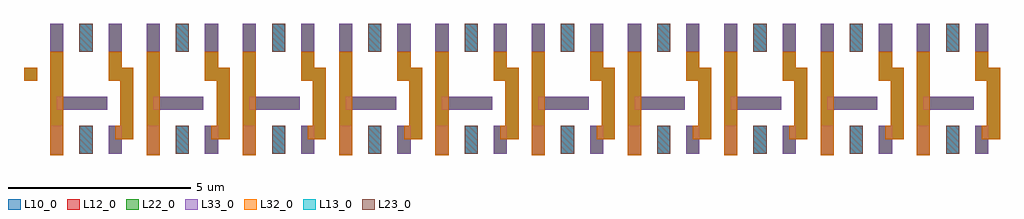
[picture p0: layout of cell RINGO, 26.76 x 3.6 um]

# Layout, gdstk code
import gdstk
lib = gdstk.Library(unit=1e-6, precision=1e-09)
def R(c, l, rs):  # rectangles x0, y0, x1, y1
    for r in rs: c.add(gdstk.rectangle(r[:2], r[2:], *l))
def A(c, l, x, y, w, h, nx, ny, dx, dy):  # array of equal rectangles
    R(c, l, [(x+i*dx, y+j*dy, x+i*dx+w, y+j*dy+h) for i in range(nx) for j in range(ny)])
def P(c, l, *ps):  # polygons
    for p in ps: c.add(gdstk.Polygon(p, *l))
L10_0 = (10, 0)
L11_0 = (11, 0)
L12_0 = (12, 0)
L13_0 = (13, 0)
L22_0 = (22, 0)
L23_0 = (23, 0)
L32_0 = (32, 0)
L33_0 = (33, 0)

ringo = lib.new_cell('RINGO')
A(ringo, L10_0, -0.98, -0.42, 0.36, 2.84, 10, 1, 2.64, 0)
A(ringo, L10_0, -0.8, 0.82, 1.38, 0.36, 10, 1, 2.64, 0)
R(ringo, L10_0, [(-0.98,-0.38,-0.62,0.38), (-0.18,-0.38,0.18,0.38), (-0.18,-0.38,0.18,0.38), (0.62,-0.38,0.98,0.38), (1.66,-0.38,2.02,0.38), (2.46,-0.38,2.82,0.38), (2.46,-0.38,2.82,0.38), (3.26,-0.38,3.62,0.38), (4.3,-0.38,4.66,0.38), (5.1,-0.38,5.46,0.38), (5.1,-0.38,5.46,0.38), (5.9,-0.38,6.26,0.38), (6.94,-0.38,7.3,0.38), (7.74,-0.38,8.1,0.38), (7.74,-0.38,8.1,0.38), (8.54,-0.38,8.9,0.38), (9.58,-0.38,9.94,0.38), (10.38,-0.38,10.74,0.38), (10.38,-0.38,10.74,0.38), (11.18,-0.38,11.54,0.38), (12.22,-0.38,12.58,0.38), (13.02,-0.38,13.38,0.38), (13.02,-0.38,13.38,0.38), (13.82,-0.38,14.18,0.38), (14.86,-0.38,15.22,0.38), (15.66,-0.38,16.02,0.38), (15.66,-0.38,16.02,0.38), (16.46,-0.38,16.82,0.38), (17.5,-0.38,17.86,0.38), (18.3,-0.38,18.66,0.38), (18.3,-0.38,18.66,0.38), (19.1,-0.38,19.46,0.38), (20.14,-0.38,20.5,0.38), (20.94,-0.38,21.3,0.38), (20.94,-0.38,21.3,0.38), (21.74,-0.38,22.1,0.38), (22.78,-0.38,23.14,0.38), (23.58,-0.38,23.94,0.38), (23.58,-0.38,23.94,0.38), (24.38,-0.38,24.74,0.38), (-1.7,1.62,-1.34,1.98), (-0.98,2.42,-0.62,3.18), (-0.18,2.42,0.18,3.18), (-0.18,2.42,0.18,3.18), (0.62,2.42,0.98,3.18), (1.66,2.42,2.02,3.18), (2.46,2.42,2.82,3.18), (2.46,2.42,2.82,3.18), (3.26,2.42,3.62,3.18), (4.3,2.42,4.66,3.18), (5.1,2.42,5.46,3.18), (5.1,2.42,5.46,3.18), (5.9,2.42,6.26,3.18), (6.94,2.42,7.3,3.18), (7.74,2.42,8.1,3.18), (7.74,2.42,8.1,3.18), (8.54,2.42,8.9,3.18), (9.58,2.42,9.94,3.18), (10.38,2.42,10.74,3.18), (10.38,2.42,10.74,3.18), (11.18,2.42,11.54,3.18), (12.22,2.42,12.58,3.18), (13.02,2.42,13.38,3.18), (13.02,2.42,13.38,3.18), (13.82,2.42,14.18,3.18), (14.86,2.42,15.22,3.18), (15.66,2.42,16.02,3.18), (15.66,2.42,16.02,3.18), (16.46,2.42,16.82,3.18), (17.5,2.42,17.86,3.18), (18.3,2.42,18.66,3.18), (18.3,2.42,18.66,3.18), (19.1,2.42,19.46,3.18), (20.14,2.42,20.5,3.18), (20.94,2.42,21.3,3.18), (20.94,2.42,21.3,3.18), (21.74,2.42,22.1,3.18), (22.78,2.42,23.14,3.18), (23.58,2.42,23.94,3.18), (23.58,2.42,23.94,3.18), (24.38,2.42,24.74,3.18)])
R(ringo, L12_0, [(-1.7,1.62,-1.34,1.98)])
P(ringo, L12_0, [(-0.98,-0.42),(-0.98,3.18),(-0.62,3.18),(-0.62,1.18),(0.58,1.18),(0.58,0.82),(-0.62,0.82),(-0.62,-0.42)],
  [(0.62,-0.38),(0.62,0.38),(0.94,0.38),(0.94,1.62),(0.62,1.62),(0.62,3.18),(0.98,3.18),(0.98,1.98),(1.3,1.98),(1.3,0.02),(0.98,0.02),(0.98,-0.38)],
  [(24.38,-0.38),(24.38,0.38),(24.7,0.38),(24.7,1.62),(24.38,1.62),(24.38,3.18),(24.74,3.18),(24.74,1.98),(25.06,1.98),(25.06,0.02),(24.74,0.02),(24.74,-0.38)],
  [(9.58,-0.42),(9.58,3.18),(9.94,3.18),(9.94,1.18),(11.14,1.18),(11.14,0.82),(9.94,0.82),(9.94,-0.42)],
  [(22.78,-0.42),(22.78,3.18),(23.14,3.18),(23.14,1.18),(24.34,1.18),(24.34,0.82),(23.14,0.82),(23.14,-0.42)],
  [(12.22,-0.42),(12.22,3.18),(12.58,3.18),(12.58,1.18),(13.78,1.18),(13.78,0.82),(12.58,0.82),(12.58,-0.42)],
  [(4.3,-0.42),(4.3,3.18),(4.66,3.18),(4.66,1.18),(5.86,1.18),(5.86,0.82),(4.66,0.82),(4.66,-0.42)],
  [(6.94,-0.42),(6.94,3.18),(7.3,3.18),(7.3,1.18),(8.5,1.18),(8.5,0.82),(7.3,0.82),(7.3,-0.42)],
  [(5.9,-0.38),(5.9,0.38),(6.22,0.38),(6.22,1.62),(5.9,1.62),(5.9,3.18),(6.26,3.18),(6.26,1.98),(6.58,1.98),(6.58,0.02),(6.26,0.02),(6.26,-0.38)],
  [(3.26,-0.38),(3.26,0.38),(3.58,0.38),(3.58,1.62),(3.26,1.62),(3.26,3.18),(3.62,3.18),(3.62,1.98),(3.94,1.98),(3.94,0.02),(3.62,0.02),(3.62,-0.38)],
  [(1.66,-0.42),(1.66,3.18),(2.02,3.18),(2.02,1.18),(3.22,1.18),(3.22,0.82),(2.02,0.82),(2.02,-0.42)],
  [(11.18,-0.38),(11.18,0.38),(11.5,0.38),(11.5,1.62),(11.18,1.62),(11.18,3.18),(11.54,3.18),(11.54,1.98),(11.86,1.98),(11.86,0.02),(11.54,0.02),(11.54,-0.38)],
  [(21.74,-0.38),(21.74,0.38),(22.06,0.38),(22.06,1.62),(21.74,1.62),(21.74,3.18),(22.1,3.18),(22.1,1.98),(22.42,1.98),(22.42,0.02),(22.1,0.02),(22.1,-0.38)],
  [(20.14,-0.42),(20.14,3.18),(20.5,3.18),(20.5,1.18),(21.7,1.18),(21.7,0.82),(20.5,0.82),(20.5,-0.42)],
  [(19.1,-0.38),(19.1,0.38),(19.42,0.38),(19.42,1.62),(19.1,1.62),(19.1,3.18),(19.46,3.18),(19.46,1.98),(19.78,1.98),(19.78,0.02),(19.46,0.02),(19.46,-0.38)],
  [(14.86,-0.42),(14.86,3.18),(15.22,3.18),(15.22,1.18),(16.42,1.18),(16.42,0.82),(15.22,0.82),(15.22,-0.42)],
  [(13.82,-0.38),(13.82,0.38),(14.14,0.38),(14.14,1.62),(13.82,1.62),(13.82,3.18),(14.18,3.18),(14.18,1.98),(14.5,1.98),(14.5,0.02),(14.18,0.02),(14.18,-0.38)],
  [(8.54,-0.38),(8.54,0.38),(8.86,0.38),(8.86,1.62),(8.54,1.62),(8.54,3.18),(8.9,3.18),(8.9,1.98),(9.22,1.98),(9.22,0.02),(8.9,0.02),(8.9,-0.38)],
  [(17.5,-0.42),(17.5,3.18),(17.86,3.18),(17.86,1.18),(19.06,1.18),(19.06,0.82),(17.86,0.82),(17.86,-0.42)],
  [(16.46,-0.38),(16.46,0.38),(16.78,0.38),(16.78,1.62),(16.46,1.62),(16.46,3.18),(16.82,3.18),(16.82,1.98),(17.14,1.98),(17.14,0.02),(16.82,0.02),(16.82,-0.38)])
A(ringo, L13_0, -0.18, -0.38, 0.36, 0.76, 10, 2, 2.64, 2.8)
R(ringo, L22_0, [(-1.7,1.62,-1.34,1.98)])
P(ringo, L22_0, [(-0.98,-0.42),(-0.98,3.18),(-0.62,3.18),(-0.62,1.18),(0.58,1.18),(0.58,0.82),(-0.62,0.82),(-0.62,-0.42)],
  [(0.62,-0.38),(0.62,0.38),(0.94,0.38),(0.94,1.62),(0.62,1.62),(0.62,3.18),(0.98,3.18),(0.98,1.98),(1.3,1.98),(1.3,0.02),(0.98,0.02),(0.98,-0.38)],
  [(24.38,-0.38),(24.38,0.38),(24.7,0.38),(24.7,1.62),(24.38,1.62),(24.38,3.18),(24.74,3.18),(24.74,1.98),(25.06,1.98),(25.06,0.02),(24.74,0.02),(24.74,-0.38)],
  [(9.58,-0.42),(9.58,3.18),(9.94,3.18),(9.94,1.18),(11.14,1.18),(11.14,0.82),(9.94,0.82),(9.94,-0.42)],
  [(22.78,-0.42),(22.78,3.18),(23.14,3.18),(23.14,1.18),(24.34,1.18),(24.34,0.82),(23.14,0.82),(23.14,-0.42)],
  [(12.22,-0.42),(12.22,3.18),(12.58,3.18),(12.58,1.18),(13.78,1.18),(13.78,0.82),(12.58,0.82),(12.58,-0.42)],
  [(4.3,-0.42),(4.3,3.18),(4.66,3.18),(4.66,1.18),(5.86,1.18),(5.86,0.82),(4.66,0.82),(4.66,-0.42)],
  [(6.94,-0.42),(6.94,3.18),(7.3,3.18),(7.3,1.18),(8.5,1.18),(8.5,0.82),(7.3,0.82),(7.3,-0.42)],
  [(5.9,-0.38),(5.9,0.38),(6.22,0.38),(6.22,1.62),(5.9,1.62),(5.9,3.18),(6.26,3.18),(6.26,1.98),(6.58,1.98),(6.58,0.02),(6.26,0.02),(6.26,-0.38)],
  [(3.26,-0.38),(3.26,0.38),(3.58,0.38),(3.58,1.62),(3.26,1.62),(3.26,3.18),(3.62,3.18),(3.62,1.98),(3.94,1.98),(3.94,0.02),(3.62,0.02),(3.62,-0.38)],
  [(1.66,-0.42),(1.66,3.18),(2.02,3.18),(2.02,1.18),(3.22,1.18),(3.22,0.82),(2.02,0.82),(2.02,-0.42)],
  [(11.18,-0.38),(11.18,0.38),(11.5,0.38),(11.5,1.62),(11.18,1.62),(11.18,3.18),(11.54,3.18),(11.54,1.98),(11.86,1.98),(11.86,0.02),(11.54,0.02),(11.54,-0.38)],
  [(21.74,-0.38),(21.74,0.38),(22.06,0.38),(22.06,1.62),(21.74,1.62),(21.74,3.18),(22.1,3.18),(22.1,1.98),(22.42,1.98),(22.42,0.02),(22.1,0.02),(22.1,-0.38)],
  [(20.14,-0.42),(20.14,3.18),(20.5,3.18),(20.5,1.18),(21.7,1.18),(21.7,0.82),(20.5,0.82),(20.5,-0.42)],
  [(19.1,-0.38),(19.1,0.38),(19.42,0.38),(19.42,1.62),(19.1,1.62),(19.1,3.18),(19.46,3.18),(19.46,1.98),(19.78,1.98),(19.78,0.02),(19.46,0.02),(19.46,-0.38)],
  [(14.86,-0.42),(14.86,3.18),(15.22,3.18),(15.22,1.18),(16.42,1.18),(16.42,0.82),(15.22,0.82),(15.22,-0.42)],
  [(13.82,-0.38),(13.82,0.38),(14.14,0.38),(14.14,1.62),(13.82,1.62),(13.82,3.18),(14.18,3.18),(14.18,1.98),(14.5,1.98),(14.5,0.02),(14.18,0.02),(14.18,-0.38)],
  [(8.54,-0.38),(8.54,0.38),(8.86,0.38),(8.86,1.62),(8.54,1.62),(8.54,3.18),(8.9,3.18),(8.9,1.98),(9.22,1.98),(9.22,0.02),(8.9,0.02),(8.9,-0.38)],
  [(17.5,-0.42),(17.5,3.18),(17.86,3.18),(17.86,1.18),(19.06,1.18),(19.06,0.82),(17.86,0.82),(17.86,-0.42)],
  [(16.46,-0.38),(16.46,0.38),(16.78,0.38),(16.78,1.62),(16.46,1.62),(16.46,3.18),(16.82,3.18),(16.82,1.98),(17.14,1.98),(17.14,0.02),(16.82,0.02),(16.82,-0.38)])
A(ringo, L23_0, -0.18, -0.38, 0.36, 0.76, 10, 2, 2.64, 2.8)
A(ringo, L32_0, -0.98, -0.42, 0.36, 2.84, 10, 1, 2.64, 0)
R(ringo, L32_0, [(-1.7,1.62,-1.34,1.98)])
P(ringo, L32_0, [(21.92,0.02),(21.92,0.38),(22.06,0.38),(22.06,1.62),(21.74,1.62),(21.74,2.42),(22.1,2.42),(22.1,1.98),(22.42,1.98),(22.42,0.02)],
  [(3.44,0.02),(3.44,0.38),(3.58,0.38),(3.58,1.62),(3.26,1.62),(3.26,2.42),(3.62,2.42),(3.62,1.98),(3.94,1.98),(3.94,0.02)],
  [(6.08,0.02),(6.08,0.38),(6.22,0.38),(6.22,1.62),(5.9,1.62),(5.9,2.42),(6.26,2.42),(6.26,1.98),(6.58,1.98),(6.58,0.02)],
  [(11.36,0.02),(11.36,0.38),(11.5,0.38),(11.5,1.62),(11.18,1.62),(11.18,2.42),(11.54,2.42),(11.54,1.98),(11.86,1.98),(11.86,0.02)],
  [(8.72,0.02),(8.72,0.38),(8.86,0.38),(8.86,1.62),(8.54,1.62),(8.54,2.42),(8.9,2.42),(8.9,1.98),(9.22,1.98),(9.22,0.02)],
  [(0.8,0.02),(0.8,0.38),(0.94,0.38),(0.94,1.62),(0.62,1.62),(0.62,2.42),(0.98,2.42),(0.98,1.98),(1.3,1.98),(1.3,0.02)],
  [(19.28,0.02),(19.28,0.38),(19.42,0.38),(19.42,1.62),(19.1,1.62),(19.1,2.42),(19.46,2.42),(19.46,1.98),(19.78,1.98),(19.78,0.02)],
  [(24.56,0.02),(24.56,0.38),(24.7,0.38),(24.7,1.62),(24.38,1.62),(24.38,2.42),(24.74,2.42),(24.74,1.98),(25.06,1.98),(25.06,0.02)],
  [(16.64,0.02),(16.64,0.38),(16.78,0.38),(16.78,1.62),(16.46,1.62),(16.46,2.42),(16.82,2.42),(16.82,1.98),(17.14,1.98),(17.14,0.02)],
  [(14,0.02),(14,0.38),(14.14,0.38),(14.14,1.62),(13.82,1.62),(13.82,2.42),(14.18,2.42),(14.18,1.98),(14.5,1.98),(14.5,0.02)])
A(ringo, L33_0, -0.98, -0.38, 0.36, 0.76, 3, 2, 0.8, 2.8)
A(ringo, L33_0, 1.66, -0.38, 0.36, 0.76, 3, 2, 0.8, 2.8)
A(ringo, L33_0, 4.3, -0.38, 0.36, 0.76, 3, 2, 0.8, 2.8)
A(ringo, L33_0, 6.94, -0.38, 0.36, 0.76, 3, 2, 0.8, 2.8)
A(ringo, L33_0, 9.58, -0.38, 0.36, 0.76, 3, 2, 0.8, 2.8)
A(ringo, L33_0, 12.22, -0.38, 0.36, 0.76, 3, 2, 0.8, 2.8)
A(ringo, L33_0, 14.86, -0.38, 0.36, 0.76, 3, 2, 0.8, 2.8)
A(ringo, L33_0, 17.5, -0.38, 0.36, 0.76, 3, 2, 0.8, 2.8)
A(ringo, L33_0, 20.14, -0.38, 0.36, 0.76, 3, 2, 0.8, 2.8)
A(ringo, L33_0, 22.78, -0.38, 0.36, 0.76, 3, 2, 0.8, 2.8)
A(ringo, L33_0, -0.8, 0.82, 1.38, 0.36, 10, 1, 2.64, 0)
ringo.add(gdstk.FlexPath([(0.8,0.2),(1.12,0.2),(1.12,1.8),(0.8,1.8),(0.8,2.42)], 0.36, ends="flush", simple_path=True, layer=10, datatype=0))  # L10_0
ringo.add(gdstk.FlexPath([(3.44,0.2),(3.76,0.2),(3.76,1.8),(3.44,1.8),(3.44,2.42)], 0.36, ends="flush", simple_path=True, layer=10, datatype=0))  # L10_0
ringo.add(gdstk.FlexPath([(6.08,0.2),(6.4,0.2),(6.4,1.8),(6.08,1.8),(6.08,2.42)], 0.36, ends="flush", simple_path=True, layer=10, datatype=0))  # L10_0
ringo.add(gdstk.FlexPath([(8.72,0.2),(9.04,0.2),(9.04,1.8),(8.72,1.8),(8.72,2.42)], 0.36, ends="flush", simple_path=True, layer=10, datatype=0))  # L10_0
ringo.add(gdstk.FlexPath([(11.36,0.2),(11.68,0.2),(11.68,1.8),(11.36,1.8),(11.36,2.42)], 0.36, ends="flush", simple_path=True, layer=10, datatype=0))  # L10_0
ringo.add(gdstk.FlexPath([(14,0.2),(14.32,0.2),(14.32,1.8),(14,1.8),(14,2.42)], 0.36, ends="flush", simple_path=True, layer=10, datatype=0))  # L10_0
ringo.add(gdstk.FlexPath([(16.64,0.2),(16.96,0.2),(16.96,1.8),(16.64,1.8),(16.64,2.42)], 0.36, ends="flush", simple_path=True, layer=10, datatype=0))  # L10_0
ringo.add(gdstk.FlexPath([(19.28,0.2),(19.6,0.2),(19.6,1.8),(19.28,1.8),(19.28,2.42)], 0.36, ends="flush", simple_path=True, layer=10, datatype=0))  # L10_0
ringo.add(gdstk.FlexPath([(21.92,0.2),(22.24,0.2),(22.24,1.8),(21.92,1.8),(21.92,2.42)], 0.36, ends="flush", simple_path=True, layer=10, datatype=0))  # L10_0
ringo.add(gdstk.FlexPath([(24.56,0.2),(24.88,0.2),(24.88,1.8),(24.56,1.8),(24.56,2.42)], 0.36, ends="flush", simple_path=True, layer=10, datatype=0))  # L10_0
ringo.add(gdstk.FlexPath([(-1.4,1.8),(-1.4,3.8)], 0, ends="flush", simple_path=True, layer=11, datatype=0))  # L11_0
ringo.add(gdstk.FlexPath([(-1.4,3.8),(25.16,3.8)], 0, ends="flush", simple_path=True, layer=11, datatype=0))  # L11_0
ringo.add(gdstk.FlexPath([(25.16,3.8),(25.16,1.8)], 0, ends="flush", simple_path=True, layer=11, datatype=0))  # L11_0
ringo.add(gdstk.FlexPath([(25.16,1.8),(-1.4,1.8)], 0, ends="flush", simple_path=True, layer=11, datatype=0))  # L11_0

lib.write_gds('RINGO.gds')
